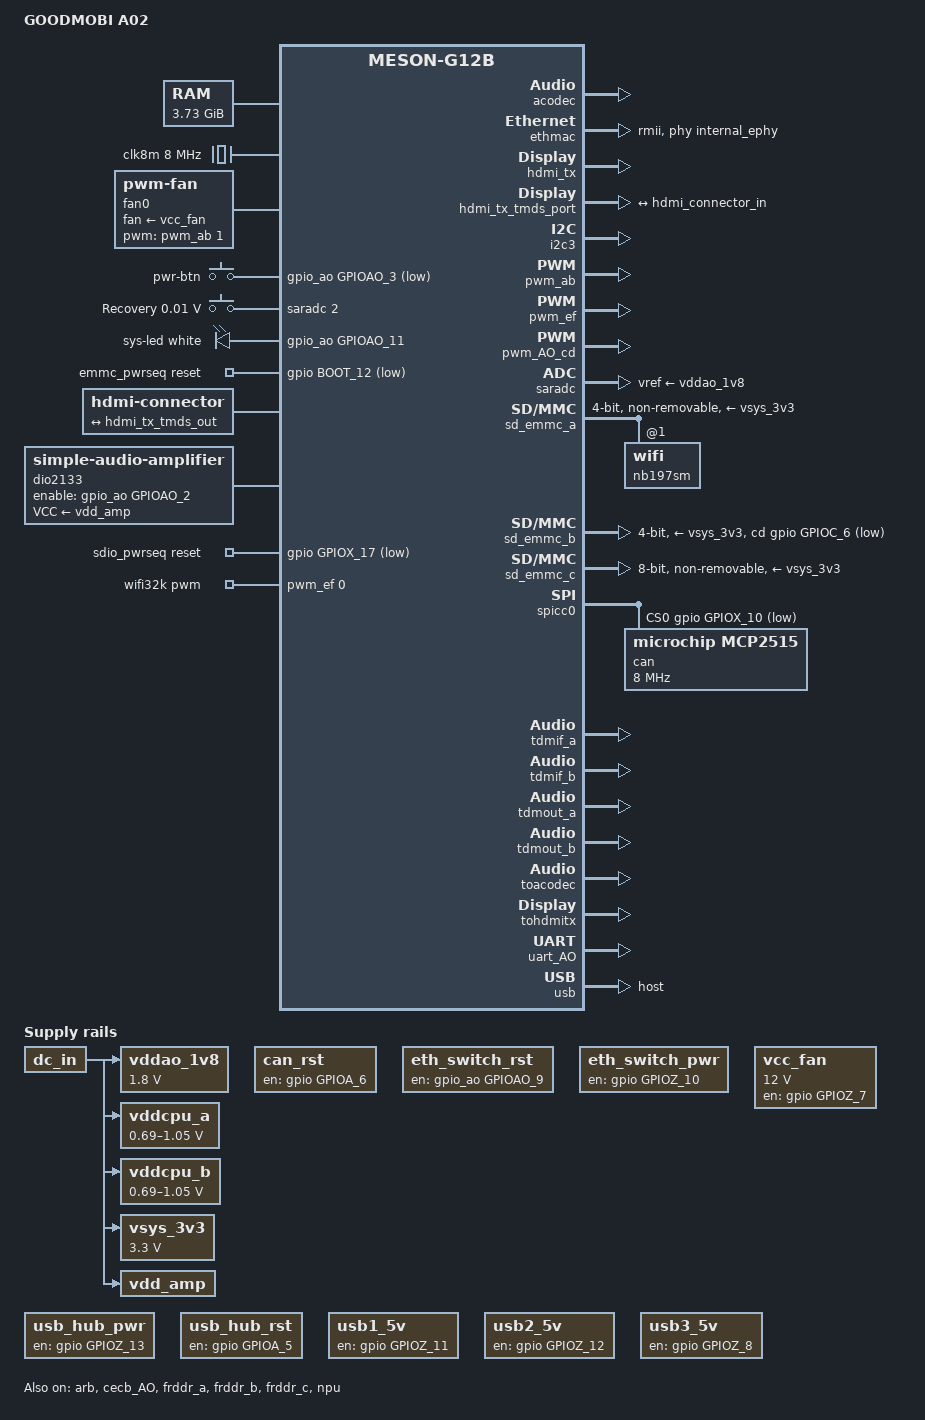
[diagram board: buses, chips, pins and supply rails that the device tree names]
// SPDX-License-Identifier: (GPL-2.0+ OR MIT)
/*
 * Copyright (c) 2019 BayLibre, SAS
 * Copyright (c) 2019 Neil Armstrong <narmstrong@baylibre.com>
 * Copyright (c) 2019 Christian Hewitt <christianshewitt@gmail.com>
 * Copyright (c) 2026 retro98boy <retro98boy@qq.com>
 */

/dts-v1/;

#include "meson-g12b-a311d.dtsi"
#include <dt-bindings/input/input.h>
#include <dt-bindings/leds/common.h>
#include <dt-bindings/gpio/meson-g12a-gpio.h>
#include <dt-bindings/sound/meson-g12a-toacodec.h>
#include <dt-bindings/sound/meson-g12a-tohdmitx.h>

/ {
	compatible = "goodmobi,a02", "amlogic,a311d", "amlogic,g12b";
	model = "GOODMOBI A02";

	aliases {
		serial0 = &uart_AO;
		ethernet0 = &ethmac;
		rtc1 = &vrtc;
	};

	chosen {
		stdout-path = "serial0:115200n8";
	};

	memory@0 {
		device_type = "memory";
		reg = <0x0 0x0 0x0 0xee6b2800>; /* 4GB */
	};

	clk8m: can-clock {
		compatible = "fixed-clock";
		#clock-cells = <0>;
		clock-frequency = <8000000>;
	};

	fan0: pwm-fan {
		compatible = "pwm-fan";
		#cooling-cells = <2>;
		cooling-levels = <0 120 170 250>;
		fan-supply = <&vcc_fan>;
		pwms = <&pwm_ab 1 40000 0>;
		/* tach-gpio = <&gpio GPIOA_3 GPIO_ACTIVE_HIGH>; */
	};

	gpio-keys-polled {
		compatible = "gpio-keys-polled";
		poll-interval = <100>;

		pwr-btn {
			label = "pwr-btn";
			linux,code = <KEY_POWER>;
			gpios = <&gpio_ao GPIOAO_3 GPIO_ACTIVE_LOW>;
		};
	};

	adc-keys {
		compatible = "adc-keys";
		io-channels = <&saradc 2>;
		io-channel-names = "buttons";
		keyup-threshold-microvolt = <1710000>;
		poll-interval = <100>;

		button-recovery {
			label = "Recovery";
			linux,code = <KEY_VENDOR>;
			press-threshold-microvolt = <10000>;
		};
	};

	gpio-leds {
		compatible = "gpio-leds";

		sys-led {
			function = LED_FUNCTION_STATUS;
			color = <LED_COLOR_ID_WHITE>;
			gpios = <&gpio_ao GPIOAO_11 GPIO_ACTIVE_HIGH>;
			linux,default-trigger = "heartbeat";
		};
	};

	emmc_pwrseq: emmc-pwrseq {
		compatible = "mmc-pwrseq-emmc";
		reset-gpios = <&gpio BOOT_12 GPIO_ACTIVE_LOW>;
	};

	hdmi-connector {
		compatible = "hdmi-connector";
		type = "a";

		port {
			hdmi_connector_in: endpoint {
				remote-endpoint = <&hdmi_tx_tmds_out>;
			};
		};
	};

	dio2133: speaker-amplifier {
		compatible = "simple-audio-amplifier";
		enable-gpios = <&gpio_ao GPIOAO_2 GPIO_ACTIVE_HIGH>;
		VCC-supply = <&vdd_amp>;
		sound-name-prefix = "Speaker Amplifier";
	};

	sdio_pwrseq: sdio-pwrseq {
		compatible = "mmc-pwrseq-simple";
		reset-gpios = <&gpio GPIOX_17 GPIO_ACTIVE_LOW>; /* tested by voltmeter */
		clocks = <&wifi32k>;
		clock-names = "ext_clock";
	};

	wifi32k: wifi32k {
		compatible = "pwm-clock";
		#clock-cells = <0>;
		clock-frequency = <32768>;
		pwms = <&pwm_ef 0 30518 0>; /* PWM_E at 32.768KHz */
	};

	dc_in: regulator-dc-in {
		compatible = "regulator-fixed";
		regulator-name = "dc_in";
		regulator-always-on;
		regulator-boot-on;
	};

	vddao_1v8: regulator-vddao-1v8 {
		compatible = "regulator-fixed";
		regulator-name = "vddao_1v8";
		regulator-min-microvolt = <1800000>;
		regulator-max-microvolt = <1800000>;
		regulator-always-on;
		regulator-boot-on;
		vin-supply = <&dc_in>;
	};

	vddcpu_a: regulator-vddcpu-a {
		compatible = "pwm-regulator";
		regulator-name = "VDDCPU_A";
		regulator-min-microvolt = <690000>;
		regulator-max-microvolt = <1050000>;
		pwm-supply = <&dc_in>;
		pwms = <&pwm_ab 0 1250 0>;
		pwm-dutycycle-range = <100 0>;
		regulator-boot-on;
		regulator-always-on;
	};

	vddcpu_b: regulator-vddcpu-b {
		compatible = "pwm-regulator";
		regulator-name = "VDDCPU_B";
		regulator-min-microvolt = <690000>;
		regulator-max-microvolt = <1050000>;
		pwm-supply = <&dc_in>;
		pwms = <&pwm_AO_cd 1 1250 0>;
		pwm-dutycycle-range = <100 0>;
		regulator-boot-on;
		regulator-always-on;
	};

	vsys_3v3: regulator-vsys-3v3 {
		compatible = "regulator-fixed";
		regulator-name = "vsys_3v3";
		regulator-min-microvolt = <3300000>;
		regulator-max-microvolt = <3300000>;
		regulator-always-on;
		regulator-boot-on;
		vin-supply = <&dc_in>;
	};

	can_rst: regulator-can-rst {
		compatible = "regulator-fixed";
		enable-active-high;
		gpio = <&gpio GPIOA_6 GPIO_ACTIVE_HIGH>;
		regulator-name = "can_rst";
		regulator-always-on;
		regulator-boot-on;
	};

	eth_switch_rst: regulator-eth-switch-rst {
		compatible = "regulator-fixed";
		enable-active-high;
		gpio = <&gpio_ao GPIOAO_9 GPIO_ACTIVE_HIGH>;
		regulator-name = "eth_switch_rst";
		regulator-always-on;
		regulator-boot-on;
	};

	eth_switch_pwr: regulator-eth-switch-pwr {
		compatible = "regulator-fixed";
		enable-active-high;
		gpio = <&gpio GPIOZ_10 GPIO_ACTIVE_HIGH>;
		regulator-name = "eth_switch_pwr";
		regulator-always-on;
		regulator-boot-on;
	};

	vcc_fan: regulator-vcc-fan {
		compatible = "regulator-fixed";
		enable-active-high;
		gpio = <&gpio GPIOZ_7 GPIO_ACTIVE_HIGH>;
		regulator-name = "vcc_fan";
		regulator-min-microvolt = <12000000>;
		regulator-max-microvolt = <12000000>;
	};

	usb_hub_pwr: regulator-usb-hub-pwr {
		compatible = "regulator-fixed";
		enable-active-high;
		gpio = <&gpio GPIOZ_13 GPIO_ACTIVE_HIGH>;
		regulator-name = "usb_hub_pwr";
		regulator-always-on;
		regulator-boot-on;
	};

	/* reset when gpio low */
	usb_hub_rst: regulator-usb-hub-rst {
		compatible = "regulator-fixed";
		enable-active-high;
		gpio = <&gpio GPIOA_5 GPIO_ACTIVE_HIGH>;
		regulator-name = "usb_hub_rst";
		regulator-always-on;
		regulator-boot-on;
	};

	/* DC jack USB3 USB2 USB1 */
	usb1_5v: regulator-usb1-5v {
		compatible = "regulator-fixed";
		enable-active-high;
		gpio = <&gpio GPIOZ_11 GPIO_ACTIVE_HIGH>;
		regulator-name = "usb1_5v";
		regulator-always-on;
		regulator-boot-on;
	};

	usb2_5v: regulator-usb2-5v {
		compatible = "regulator-fixed";
		enable-active-high;
		gpio = <&gpio GPIOZ_12 GPIO_ACTIVE_HIGH>;
		regulator-name = "usb2_5v";
		regulator-always-on;
		regulator-boot-on;
	};

	usb3_5v: regulator-usb3-5v {
		compatible = "regulator-fixed";
		enable-active-high;
		gpio = <&gpio GPIOZ_8 GPIO_ACTIVE_HIGH>;
		regulator-name = "usb3_5v";
		regulator-always-on;
		regulator-boot-on;
	};

	vdd_amp: regulator-vdd-amp {
		compatible = "regulator-fixed";
		regulator-name = "vdd_amp";
		regulator-always-on;
		regulator-boot-on;
		vin-supply = <&dc_in>;
	};

	/* Similar to CAINIAO CNIoT-CORE */
	sound {
		compatible = "amlogic,axg-sound-card";
		model = "cniot-core";
		audio-widgets = "Speaker", "Speakers";
		audio-aux-devs = <&tdmout_a>, <&tdmout_b>, <&dio2133>;
		audio-routing = "TDMOUT_A IN 0", "FRDDR_A OUT 0",
				"TDMOUT_A IN 1", "FRDDR_B OUT 0",
				"TDMOUT_A IN 2", "FRDDR_C OUT 0",
				"TDM_A Playback", "TDMOUT_A OUT",
				"TDMOUT_B IN 0", "FRDDR_A OUT 1",
				"TDMOUT_B IN 1", "FRDDR_B OUT 1",
				"TDMOUT_B IN 2", "FRDDR_C OUT 1",
				"TDM_B Playback", "TDMOUT_B OUT",
				"Speaker Amplifier INL", "ACODEC LOLP",
				"Speaker Amplifier INL", "ACODEC LOLN",
				"Speaker Amplifier INR", "ACODEC LORP",
				"Speaker Amplifier INR", "ACODEC LORN",
				"Speakers", "Speaker Amplifier OUTL",
				"Speakers", "Speaker Amplifier OUTR";

		clocks = <&clkc CLKID_MPLL2>,
			 <&clkc CLKID_MPLL0>,
			 <&clkc CLKID_MPLL1>;

		assigned-clocks = <&clkc CLKID_MPLL2>,
				  <&clkc CLKID_MPLL0>,
				  <&clkc CLKID_MPLL1>;
		assigned-clock-parents = <0>, <0>, <0>;
		assigned-clock-rates = <294912000>,
				       <270950400>,
				       <393216000>;

		dai-link-0 {
			sound-dai = <&frddr_a>;
		};

		dai-link-1 {
			sound-dai = <&frddr_b>;
		};

		dai-link-2 {
			sound-dai = <&frddr_c>;
		};

		/* 8ch hdmi interface */
		dai-link-3 {
			sound-dai = <&tdmif_a>;
			dai-format = "i2s";
			dai-tdm-slot-tx-mask-0 = <1 1>;
			dai-tdm-slot-tx-mask-1 = <1 1>;
			dai-tdm-slot-tx-mask-2 = <1 1>;
			dai-tdm-slot-tx-mask-3 = <1 1>;
			mclk-fs = <256>;

			codec-0 {
				sound-dai = <&tohdmitx TOHDMITX_I2S_IN_A>;
			};

			codec-1 {
				sound-dai = <&toacodec TOACODEC_IN_A>;
			};
		};

		/* 8ch hdmi interface */
		dai-link-4 {
			sound-dai = <&tdmif_b>;
			dai-format = "i2s";
			dai-tdm-slot-tx-mask-0 = <1 1>;
			dai-tdm-slot-tx-mask-1 = <1 1>;
			dai-tdm-slot-tx-mask-2 = <1 1>;
			dai-tdm-slot-tx-mask-3 = <1 1>;
			mclk-fs = <256>;

			codec-0 {
				sound-dai = <&tohdmitx TOHDMITX_I2S_IN_B>;
			};

			codec-1 {
				sound-dai = <&toacodec TOACODEC_IN_B>;
			};
		};

		/* hdmi glue */
		dai-link-5 {
			sound-dai = <&tohdmitx TOHDMITX_I2S_OUT>;

			codec {
				sound-dai = <&hdmi_tx>;
			};
		};

		/* acodec glue */
		dai-link-6 {
			sound-dai = <&toacodec TOACODEC_OUT>;

			codec {
				sound-dai = <&acodec>;
			};
		};
	};
};

&acodec {
	AVDD-supply = <&vddao_1v8>;
	status = "okay";
};

&arb {
	status = "okay";
};

&clkc_audio {
	status = "okay";
};

&cecb_AO {
	pinctrl-0 = <&cec_ao_b_h_pins>;
	pinctrl-names = "default";
	status = "okay";
	hdmi-phandle = <&hdmi_tx>;
};

&cpu0 {
	cpu-supply = <&vddcpu_b>;
	operating-points-v2 = <&cpu_opp_table_0>;
	clocks = <&clkc CLKID_CPU_CLK>;
	clock-latency = <50000>;
};

&cpu1 {
	cpu-supply = <&vddcpu_b>;
	operating-points-v2 = <&cpu_opp_table_0>;
	clocks = <&clkc CLKID_CPU_CLK>;
	clock-latency = <50000>;
};

&cpu100 {
	cpu-supply = <&vddcpu_a>;
	operating-points-v2 = <&cpub_opp_table_1>;
	clocks = <&clkc CLKID_CPUB_CLK>;
	clock-latency = <50000>;
};

&cpu101 {
	cpu-supply = <&vddcpu_a>;
	operating-points-v2 = <&cpub_opp_table_1>;
	clocks = <&clkc CLKID_CPUB_CLK>;
	clock-latency = <50000>;
};

&cpu102 {
	cpu-supply = <&vddcpu_a>;
	operating-points-v2 = <&cpub_opp_table_1>;
	clocks = <&clkc CLKID_CPUB_CLK>;
	clock-latency = <50000>;
};

&cpu103 {
	cpu-supply = <&vddcpu_a>;
	operating-points-v2 = <&cpub_opp_table_1>;
	clocks = <&clkc CLKID_CPUB_CLK>;
	clock-latency = <50000>;
};

&cpu_thermal {
	trips {
		cpu_active: cpu-active {
			temperature = <55000>; /* millicelsius */
			hysteresis = <5000>; /* millicelsius */
			type = "active";
		};
	};

	cooling-maps {
		map2 {
			trip = <&cpu_active>;
			cooling-device = <&fan0 THERMAL_NO_LIMIT THERMAL_NO_LIMIT>;
		};
	};
};

&ethmac {
	status = "okay";
	phy-handle = <&internal_ephy>;
	phy-mode = "rmii";
};

&frddr_a {
	status = "okay";
};

&frddr_b {
	status = "okay";
};

&frddr_c {
	status = "okay";
};

&hdmi_tx {
	status = "okay";
	pinctrl-0 = <&hdmitx_hpd_pins>, <&hdmitx_ddc_pins>;
	pinctrl-names = "default";
};

&hdmi_tx_tmds_port {
	hdmi_tx_tmds_out: endpoint {
		remote-endpoint = <&hdmi_connector_in>;
	};
};

&i2c3 {
	status = "okay";
	pinctrl-0 = <&i2c3_sda_a_pins>, <&i2c3_sck_a_pins>;
	pinctrl-names = "default";
};

&npu {
	status = "okay";
};

&pwm_ab {
	status = "okay";
	pinctrl-0 = <&pwm_a_e_pins &pwm_b_x19_pins>;
	pinctrl-names = "default";
	clocks = <&xtal>;
	clock-names = "clkin0";
};

&pwm_ef {
	status = "okay";
	pinctrl-0 = <&pwm_e_pins>;
	pinctrl-names = "default";
};

&pwm_AO_cd {
	pinctrl-0 = <&pwm_ao_d_e_pins>;
	pinctrl-names = "default";
	clocks = <&xtal>;
	clock-names = "clkin1";
	status = "okay";
};

&saradc {
	status = "okay";
	vref-supply = <&vddao_1v8>;
};

&sd_emmc_a {
	status = "okay";
	pinctrl-0 = <&sdio_pins>;
	pinctrl-1 = <&sdio_clk_gate_pins>;
	pinctrl-names = "default", "clk-gate";
	#address-cells = <1>;
	#size-cells = <0>;

	bus-width = <4>;
	max-frequency = <50000000>;
	cap-sdio-irq;
	cap-sd-highspeed;
	non-removable;
	sd-uhs-ddr50;

	/* WiFi firmware requires power in suspend */
	keep-power-in-suspend;
	mmc-pwrseq = <&sdio_pwrseq>;
	vmmc-supply = <&vsys_3v3>;
	vqmmc-supply = <&vddao_1v8>;

	nb197sm: wifi@1 {
		reg = <1>;
	};
};

/* SD card */
&sd_emmc_b {
	status = "okay";
	pinctrl-0 = <&sdcard_c_pins>;
	pinctrl-1 = <&sdcard_clk_gate_c_pins>;
	pinctrl-names = "default", "clk-gate";

	bus-width = <4>;
	cap-sd-highspeed;
	max-frequency = <50000000>;
	disable-wp;

	cd-gpios = <&gpio GPIOC_6 GPIO_ACTIVE_LOW>;
	vmmc-supply = <&vsys_3v3>;
	vqmmc-supply = <&vsys_3v3>;
};

&sd_emmc_c {
	status = "okay";
	pinctrl-0 = <&emmc_ctrl_pins>, <&emmc_data_8b_pins>, <&emmc_ds_pins>;
	pinctrl-1 = <&emmc_clk_gate_pins>;
	pinctrl-names = "default", "clk-gate";

	max-frequency = <200000000>;
	bus-width = <8>;
	cap-mmc-highspeed;
	mmc-ddr-1_8v;
	mmc-hs200-1_8v;
	non-removable;

	mmc-pwrseq = <&emmc_pwrseq>;
	vmmc-supply = <&vsys_3v3>;
	vqmmc-supply = <&vddao_1v8>;
};

&spicc0 {
	status = "okay";
	pinctrl-0 = <&spicc0_x_pins>;
	pinctrl-names = "default";

	cs-gpios = <&gpio GPIOX_10 GPIO_ACTIVE_LOW>;

	can@0 {
		compatible = "microchip,mcp2515";
		reg = <0>;
		spi-max-frequency = <8000000>;
		clocks = <&clk8m>;
		interrupt-parent = <&gpio_intc>;
		interrupts = <IRQID_GPIOH_7 IRQ_TYPE_LEVEL_LOW>;
	};
};

&tdmif_a {
	status = "okay";
};

&tdmif_b {
	status = "okay";
};

&tdmout_a {
	status = "okay";
};

&tdmout_b {
	status = "okay";
};

&toacodec {
	status = "okay";
};

&tohdmitx {
	status = "okay";
};

&uart_AO {
	status = "okay";
	pinctrl-0 = <&uart_ao_a_pins>;
	pinctrl-names = "default";
};

&usb2_phy0 {
	phy-supply = <&dc_in>;
};

&usb2_phy1 {
	phy-supply = <&dc_in>;
};

&usb3_pcie_phy {
	phy-supply = <&dc_in>;
};

&usb {
	status = "okay";
	dr_mode = "host";
};
